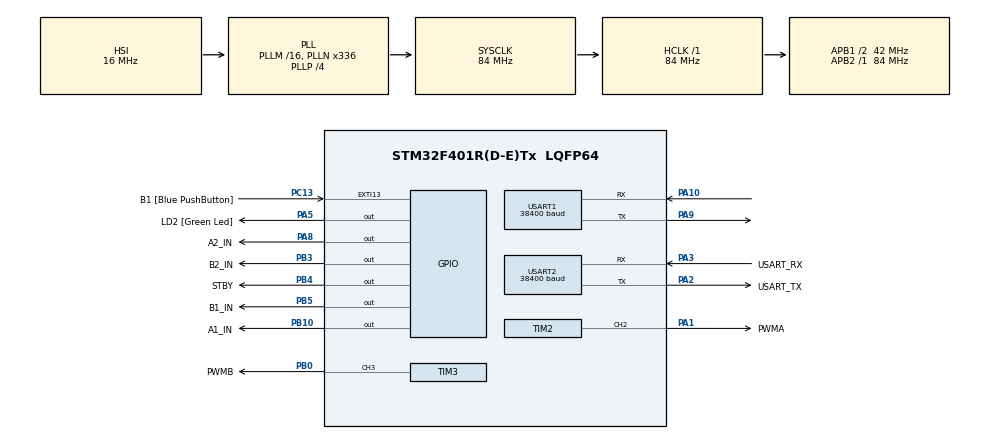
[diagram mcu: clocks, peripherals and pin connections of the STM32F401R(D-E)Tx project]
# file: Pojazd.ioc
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Dma.Request0=USART2_RX
Dma.Request1=USART2_TX
Dma.Request2=USART1_RX
Dma.USART1_RX.2.Direction=DMA_PERIPH_TO_MEMORY
Dma.USART1_RX.2.FIFOMode=DMA_FIFOMODE_DISABLE
Dma.USART1_RX.2.Instance=DMA2_Stream2
Dma.USART1_RX.2.MemDataAlignment=DMA_MDATAALIGN_BYTE
Dma.USART1_RX.2.MemInc=DMA_MINC_ENABLE
Dma.USART1_RX.2.Mode=DMA_NORMAL
Dma.USART1_RX.2.PeriphDataAlignment=DMA_PDATAALIGN_BYTE
Dma.USART1_RX.2.PeriphInc=DMA_PINC_DISABLE
Dma.USART1_RX.2.Priority=DMA_PRIORITY_LOW
Dma.USART2_RX.0.Direction=DMA_PERIPH_TO_MEMORY
Dma.USART2_RX.0.FIFOMode=DMA_FIFOMODE_DISABLE
Dma.USART2_RX.0.Instance=DMA1_Stream5
Dma.USART2_RX.0.MemDataAlignment=DMA_MDATAALIGN_BYTE
Dma.USART2_RX.0.MemInc=DMA_MINC_ENABLE
Dma.USART2_RX.0.Mode=DMA_NORMAL
Dma.USART2_RX.0.PeriphDataAlignment=DMA_PDATAALIGN_BYTE
Dma.USART2_RX.0.PeriphInc=DMA_PINC_DISABLE
Dma.USART2_RX.0.Priority=DMA_PRIORITY_LOW
Dma.USART2_TX.1.Direction=DMA_MEMORY_TO_PERIPH
Dma.USART2_TX.1.FIFOMode=DMA_FIFOMODE_DISABLE
Dma.USART2_TX.1.Instance=DMA1_Stream6
Dma.USART2_TX.1.MemDataAlignment=DMA_MDATAALIGN_BYTE
Dma.USART2_TX.1.MemInc=DMA_MINC_ENABLE
Dma.USART2_TX.1.Mode=DMA_NORMAL
Dma.USART2_TX.1.PeriphDataAlignment=DMA_PDATAALIGN_BYTE
Dma.USART2_TX.1.PeriphInc=DMA_PINC_DISABLE
Dma.USART2_TX.1.Priority=DMA_PRIORITY_LOW
Mcu.Family=STM32F4
Mcu.Name=STM32F401R(D-E)Tx
Mcu.Package=LQFP64
NVIC.DMA1_Stream5_IRQn=true\:0\:0\:false\:false\:true\:false\:true\:true
NVIC.DMA1_Stream6_IRQn=true\:0\:0\:false\:false\:true\:false\:true\:true
NVIC.DMA2_Stream2_IRQn=true\:0\:0\:false\:false\:true\:false\:true\:true
NVIC.PriorityGroup=NVIC_PRIORITYGROUP_0
NVIC.USART1_IRQn=true\:0\:0\:false\:false\:true\:true\:true\:true
NVIC.USART2_IRQn=true\:0\:0\:false\:false\:true\:true\:true\:true
PA1.GPIO_Label=PWMA
PA1.Signal=S_TIM2_CH2
PA10.Mode=Asynchronous
PA10.Signal=USART1_RX
PA13.GPIO_Label=TMS
PA13.Mode=Serial_Wire
PA13.Signal=SYS_JTMS-SWDIO
PA14.GPIO_Label=TCK
PA14.Mode=Serial_Wire
PA14.Signal=SYS_JTCK-SWCLK
PA2.GPIO_Label=USART_TX
PA2.GPIO_Mode=GPIO_MODE_AF_PP
PA2.GPIO_PuPd=GPIO_NOPULL
PA2.GPIO_Speed=GPIO_SPEED_FREQ_LOW
PA2.Mode=Asynchronous
PA2.Signal=USART2_TX
PA3.GPIO_Label=USART_RX
PA3.GPIO_Mode=GPIO_MODE_AF_PP
PA3.GPIO_PuPd=GPIO_NOPULL
PA3.GPIO_Speed=GPIO_SPEED_FREQ_LOW
PA3.Mode=Asynchronous
PA3.Signal=USART2_RX
PA5.GPIO_Label=LD2 [Green Led]
PA5.GPIO_Mode=GPIO_MODE_OUTPUT_PP
PA5.GPIO_PuPd=GPIO_NOPULL
PA5.GPIO_Speed=GPIO_SPEED_FREQ_LOW
PA5.Signal=GPIO_Output
PA8.GPIO_Label=A2_IN
PA8.Signal=GPIO_Output
PA9.Mode=Asynchronous
PA9.Signal=USART1_TX
PB0.GPIO_Label=PWMB
PB0.Signal=S_TIM3_CH3
PB10.GPIO_Label=A1_IN
PB10.Signal=GPIO_Output
PB3.GPIO_Label=B2_IN
PB3.Signal=GPIO_Output
PB4.GPIO_Label=STBY
PB4.Signal=GPIO_Output
PB5.GPIO_Label=B1_IN
PB5.Signal=GPIO_Output
PC13-ANTI_TAMP.GPIO_Label=B1 [Blue PushButton]
PC13-ANTI_TAMP.GPIO_ModeDefaultEXTI=GPIO_MODE_IT_FALLING
PC13-ANTI_TAMP.GPIO_PuPd=GPIO_NOPULL
PC13-ANTI_TAMP.Signal=GPXTI13
PC14-OSC32_IN.Mode=LSE-External-Oscillator
PC14-OSC32_IN.Signal=RCC_OSC32_IN
PC15-OSC32_OUT.Mode=LSE-External-Oscillator
PC15-OSC32_OUT.Signal=RCC_OSC32_OUT
PH0\ -\ OSC_IN.Mode=HSE-External-Clock-Source
PH0\ -\ OSC_IN.Signal=RCC_OSC_IN
PH1\ -\ OSC_OUT.Mode=HSE-External-Clock-Source
PH1\ -\ OSC_OUT.Signal=RCC_OSC_OUT
ProjectManager.HeapSize=0x200
ProjectManager.StackSize=0x400
ProjectManager.TargetToolchain=STM32CubeIDE
RCC.48MHZClocksFreq_Value=48000000
RCC.AHBFreq_Value=84000000
RCC.APB1CLKDivider=RCC_HCLK_DIV2
RCC.APB1Freq_Value=42000000
RCC.APB1TimFreq_Value=84000000
RCC.APB2Freq_Value=84000000
RCC.APB2TimFreq_Value=84000000
RCC.CortexFreq_Value=84000000
RCC.HCLKFreq_Value=84000000
RCC.HSE_VALUE=8000000
RCC.HSI_VALUE=16000000
RCC.PLLN=336
RCC.PLLP=RCC_PLLP_DIV4
RCC.PLLQ=7
RCC.SYSCLKFreq_VALUE=84000000
RCC.SYSCLKSource=RCC_SYSCLKSOURCE_PLLCLK
RCC.VCOOutputFreq_Value=336000000
SH.S_TIM2_CH2.0=TIM2_CH2,PWM Generation2 CH2
SH.S_TIM3_CH3.0=TIM3_CH3,PWM Generation3 CH3
TIM2.AutoReloadPreload=TIM_AUTORELOAD_PRELOAD_ENABLE
TIM2.Channel-PWM\ Generation2\ CH2=TIM_CHANNEL_2
TIM2.Period=999
TIM2.Prescaler=83
TIM3.AutoReloadPreload=TIM_AUTORELOAD_PRELOAD_ENABLE
TIM3.Channel-PWM\ Generation3\ CH3=TIM_CHANNEL_3
TIM3.Period=999
TIM3.Prescaler=83
USART1.BaudRate=38400
USART1.VirtualMode=VM_ASYNC
USART2.BaudRate=38400
USART2.VirtualMode=VM_ASYNC
board=NUCLEO-F401RE

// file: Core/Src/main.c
/* USER CODE BEGIN Header */
/**
  ******************************************************************************
  * @file           : main.c
  * @brief          : Main program body
  ******************************************************************************
  * @attention
  *
  * Copyright (c) 2022 STMicroelectronics.
  * All rights reserved.
  *
  * This software is licensed under terms that can be found in the LICENSE file
  * in the root directory of this software component.
  * If no LICENSE file comes with this software, it is provided AS-IS.
  *
  ******************************************************************************
  */
/* USER CODE END Header */
#include "main.h"
#include "dma.h"
#include "tim.h"
#include "usart.h"
#include "gpio.h"

/* USER CODE BEGIN Includes */
#include <string.h>
#include <stdio.h>
#include "parser.h"
#include "encontrol.h"
/* USER CODE END Includes */

/* USER CODE BEGIN PD */
#define RxBuf_SIZE 100
#define TxBuf_SIZE 72
#define MainBuf_SIZE 100
/* USER CODE END PD */

/* USER CODE BEGIN PV */
uint8_t RxBuf[RxBuf_SIZE];
uint8_t MainBuf[MainBuf_SIZE];
uint32_t TxBuf[TxBuf_SIZE];
uint16_t oldPos, newPos = 0;
Measurment m;
uint8_t set = 0;
/* USER CODE END PV */

void SystemClock_Config(void);

/* USER CODE BEGIN 0 */
void  HAL_UART_RxCpltCallback(UART_HandleTypeDef *huart)
{
	HAL_GPIO_TogglePin(LD2_GPIO_Port, LD2_Pin);
	uint16_t Size = 24;

	if (huart->Instance == USART1)
	{
		oldPos = newPos;  // Update the last position before copying new data

		/* If the data in large and it is about to exceed the buffer size, we have to route it to the start of the buffer
		 * This is to maintain the circular buffer
		 * The old data in the main buffer will be overlapped
		 */
		if (oldPos+Size > MainBuf_SIZE)  // If the current position + new data size is greater than the main buffer
		{
			uint16_t datatocopy = MainBuf_SIZE-oldPos;  // find out how much space is left in the main buffer
			memcpy ((uint8_t *)MainBuf+oldPos, RxBuf, datatocopy);  // copy data in that remaining space

			oldPos = 0;  // point to the start of the buffer
			memcpy ((uint8_t *)MainBuf, (uint8_t *)RxBuf+datatocopy, (Size-datatocopy));  // copy the remaining data
			newPos = (Size-datatocopy);  // update the position
		}

		/* if the current position + new data size is less than the main buffer
		 * we will simply copy the data into the buffer and update the position
		 */
		else
		{
			memcpy ((uint8_t *)MainBuf + oldPos, RxBuf, Size);
			newPos = Size + oldPos;
		}

		if(ParseData(MainBuf, &newPos, &m) == HAL_OK)
		{
			moveRobot(&m);
		}
		else
			set = 0;

		/* start the DMA again */
		HAL_UART_Receive_DMA(&huart1, (uint8_t *) RxBuf, 24);

	}
}

/* USER CODE END 0 */

int main(void)
{

  /* MCU Configuration--------------------------------------------------------*/

  /* Reset of all peripherals, Initializes the Flash interface and the Systick. */
  HAL_Init();

  /* Configure the system clock */
  SystemClock_Config();

  /* Initialize all configured peripherals */
  MX_GPIO_Init();
  MX_DMA_Init();
  MX_USART2_UART_Init();
  MX_TIM2_Init();
  MX_TIM3_Init();
  MX_USART1_UART_Init();
  /* USER CODE BEGIN 2 */
  HAL_TIM_PWM_Start(&htim2, TIM_CHANNEL_2);
  HAL_TIM_PWM_Start(&htim3, TIM_CHANNEL_3);
  uint8_t c;
  //HAL_UARTEx_ReceiveToIdle_DMA(&huart1, (uint8_t *) RxBuf, RxBuf_SIZE);
  /* USER CODE END 2 */

  /* Infinite loop */
  /* USER CODE BEGIN WHILE */
      while (1)
  {
    	  if(set == 0)
    	  {
			  HAL_UART_Receive(&huart1, (uint8_t *) &c, 1, HAL_MAX_DELAY);
			  if(c == '\n')
			  {
				  set = 1;
				  HAL_UART_Receive_DMA(&huart1, (uint8_t *) RxBuf, 24);
			  }
    	  }
    /* USER CODE END WHILE */

  }
}

void SystemClock_Config(void)
{
  RCC_OscInitTypeDef RCC_OscInitStruct = {0};
  RCC_ClkInitTypeDef RCC_ClkInitStruct = {0};

  /** Configure the main internal regulator output voltage
  */
  __HAL_RCC_PWR_CLK_ENABLE();
  __HAL_PWR_VOLTAGESCALING_CONFIG(PWR_REGULATOR_VOLTAGE_SCALE2);

  /** Initializes the RCC Oscillators according to the specified parameters
  * in the RCC_OscInitTypeDef structure.
  */
  RCC_OscInitStruct.OscillatorType = RCC_OSCILLATORTYPE_HSI;
  RCC_OscInitStruct.HSIState = RCC_HSI_ON;
  RCC_OscInitStruct.HSICalibrationValue = RCC_HSICALIBRATION_DEFAULT;
  RCC_OscInitStruct.PLL.PLLState = RCC_PLL_ON;
  RCC_OscInitStruct.PLL.PLLSource = RCC_PLLSOURCE_HSI;
  RCC_OscInitStruct.PLL.PLLM = 16;
  RCC_OscInitStruct.PLL.PLLN = 336;
  RCC_OscInitStruct.PLL.PLLP = RCC_PLLP_DIV4;
  RCC_OscInitStruct.PLL.PLLQ = 7;
  if (HAL_RCC_OscConfig(&RCC_OscInitStruct) != HAL_OK)
  {
    Error_Handler();
  }

  /** Initializes the CPU, AHB and APB buses clocks
  */
  RCC_ClkInitStruct.ClockType = RCC_CLOCKTYPE_HCLK|RCC_CLOCKTYPE_SYSCLK
                              |RCC_CLOCKTYPE_PCLK1|RCC_CLOCKTYPE_PCLK2;
  RCC_ClkInitStruct.SYSCLKSource = RCC_SYSCLKSOURCE_PLLCLK;
  RCC_ClkInitStruct.AHBCLKDivider = RCC_SYSCLK_DIV1;
  RCC_ClkInitStruct.APB1CLKDivider = RCC_HCLK_DIV2;
  RCC_ClkInitStruct.APB2CLKDivider = RCC_HCLK_DIV1;

  if (HAL_RCC_ClockConfig(&RCC_ClkInitStruct, FLASH_LATENCY_2) != HAL_OK)
  {
    Error_Handler();
  }
}

void Error_Handler(void)
{
  __disable_irq();
  while (1)
  {
  }
}
